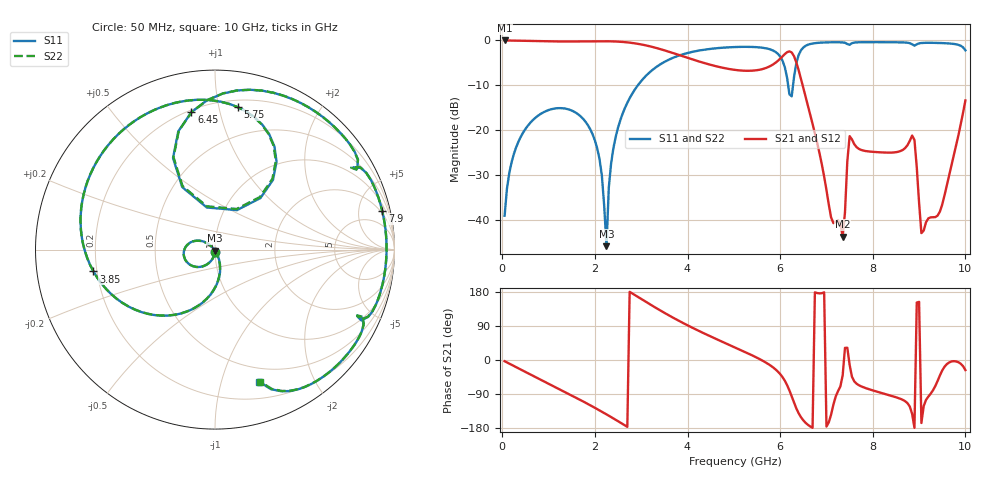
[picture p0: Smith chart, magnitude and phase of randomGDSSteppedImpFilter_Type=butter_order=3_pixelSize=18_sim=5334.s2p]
! freq	dB(S11)	phase(S11)	dB(S12)	phase(S12)
!  dB(S21)	phase(S21)	dB(S22)	phase(S22)
!S-par simulation data
#  GHz  S  DB  R 50
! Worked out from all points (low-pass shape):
!   200 points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, 50 MHz to 10 GHz, reference 50 ohm
!   highest |S21| = -0.01 dB at 50 MHz (marker M1); lowest = -43.6 dB at 7.35 GHz (marker M2)
!   |S21| within 3 dB of the highest: start of sweep to 3.746 GHz; 6.104 GHz to 6.269 GHz (164.9 MHz wide, 2.67 % of centre)
!   lowest |S11| = -45.8 dB at 2.25 GHz (marker M3), VSWR 1.01, Z = 49.9 - j0.51 ohm
!   |S11| at or under -10 dB: start of sweep to 2.926 GHz; 6.173 GHz to 6.278 GHz (105.3 MHz wide, 1.69 % of centre)
!   |S22| runs from -44.6 to -0.4 dB; largest |S21 - S12| = 0
!   S11 on the Smith chart (normalised r, x): 50 MHz: 1.00, -0.02; 3.85 GHz: 0.19, -0.09; 5.75 GHz: 0.25, +1.14; 6.45 GHz: 0.21, +0.82; 7.9 GHz: 1.68, +8.46; 10 GHz: 0.36, -1.33
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0.05  -38.99 -92.5  -0.01 -3.2  -0.01 -3.2  -38.98 -92.5
0.55  -18.99 -125.1  -0.10 -34.6  -0.10 -34.6  -18.99 -125.0
1.75  -17.50 160.3  -0.21 -109.7  -0.21 -109.7  -17.49 160.6
2.1  -26.43 139.2  -0.18 -133.0  -0.18 -133.0  -26.41 140.5
2.25  -45.76 -97.8  -0.19 -143.5  -0.19 -143.5  -44.62 -105.0
2.35  -27.34 -65.9  -0.21 -150.6  -0.21 -150.6  -27.32 -67.4
2.5  -19.37 -74.3  -0.27 -161.5  -0.27 -161.5  -19.37 -75.0
3.4  -5.39 -139.6  -1.90 131.6  -1.90 131.6  -5.39 -139.7
3.85  -3.25 -169.8  -3.36 101.0  -3.36 101.0  -3.25 -169.8
5.05  -1.46 121.9  -6.59 31.8  -6.59 31.8  -1.46 122.0
5.75  -1.89 81.0  -5.89 -11.2  -5.89 -11.2  -1.89 81.3
6.2  -11.99 61.0  -2.43 -80.4  -2.43 -80.4  -11.81 61.9
6.45  -2.19 99.7  -8.57 -151.0  -8.57 -151.0  -2.18 99.5
6.7  -0.69 73.3  -18.57 -178.9  -18.57 -178.9  -0.68 73.3
7.35  -0.44 35.1  -43.61 -40.6  -43.61 -40.6  -0.45 35.0
7.5  -0.97 30.7  -21.29 -12.7  -21.29 -12.7  -1.06 31.1
7.9  -0.39 13.0  -24.68 -76.4  -24.68 -76.4  -0.39 13.2
8.35  -0.40 -5.2  -24.96 -92.7  -24.96 -92.7  -0.40 -5.0
8.9  -1.16 -25.1  -22.14 -179.1  -22.14 -179.1  -1.19 -24.8
9.05  -0.58 -29.1  -42.86 -166.2  -42.86 -166.2  -0.58 -28.7
9.45  -0.57 -44.6  -38.06 -40.8  -38.06 -40.8  -0.57 -44.3
10  -2.19 -71.4  -13.34 -26.6  -13.34 -26.6  -2.18 -71.0
